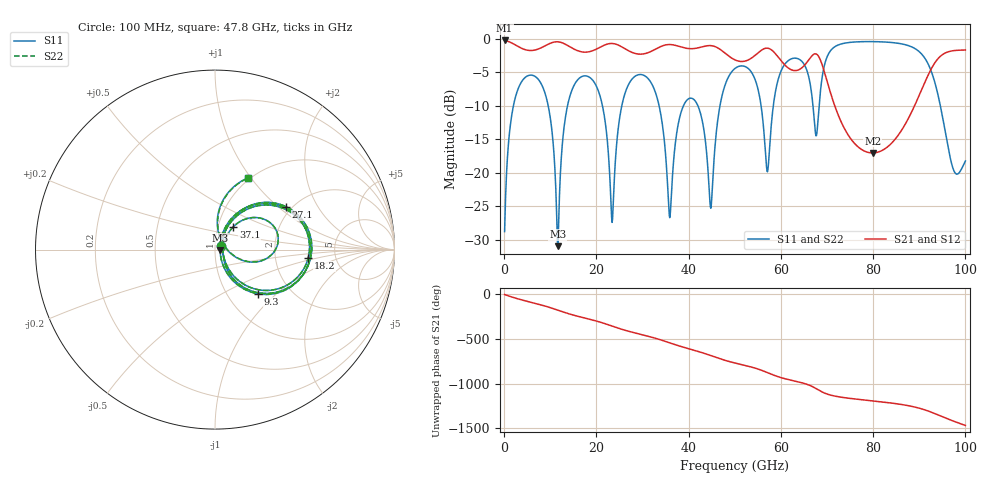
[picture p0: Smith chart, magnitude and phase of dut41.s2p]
! Touchstone file exported from HFSS 2026.1.0
!  File:  C:/ffzhzh/LocalFiles/Ansys_Project_Files/temp_train_TSV_RDL_41_1783443012_34316.aedt
!  Generated:  01:25:04 AM Jul  8, 2026
!  Design:  TSV_RDL
!  Project:  temp_train_TSV_RDL_41_1783443012_34316
! Variables:
!  h_bsmrdl = 2.66um
!  h_ox = 20um
!  h_rdl = 5um
!  h_sub = 64.71um
!  h_tmrdl = 3.56um
!  h_tsv = 64.71um
!  h_via = 3um
!  l_bsmrdl = 689.14um
!  l_sub = 5142.44um
!  l_tmrdl = 642.94um
!  m_sub = 200um
!  pitch = 42.76um
!  r_tsv = 12.38um
!  s_tmrdl = 10um
!  w_bsmrdl = 16.43um
!  w_sub = 500um
!  w_tmrdl = 17.99um
!  x_tsv_center1 = 651.935um
!  x_tsv_center2 = 1357.505um
!  x_tsv_center3 = 2018.435um
!  x_tsv_center4 = 2724.005um
!  x_tsv_center5 = 3384.935um
!  x_tsv_center6 = 4090.505um
# GHz S MA R 50.000000
! Terminal data exported
! Port[1] = TM_RDL1_1_T1
! Port[2] = TM_RDL5_1_T1
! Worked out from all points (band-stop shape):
!   1000 points, 100 MHz to 100 GHz, reference 50 ohm
!   highest |S21| = -0.27 dB at 100 MHz (marker M1); lowest = -17.1 dB at 79.9 GHz (marker M2)
!   |S21| within 3 dB of the highest: start of sweep to 50.39 GHz; 52.62 GHz to 60.01 GHz (7.394 GHz wide, 13.1 % of centre) (the widest 2 of 4)
!   lowest |S11| = -31.0 dB at 11.6 GHz (marker M3), VSWR 1.06, Z = 52.9 - j0.337 ohm
!   |S11| at or under -10 dB: 33.58 GHz to 38.89 GHz (5.305 GHz wide, 14.6 % of centre); 41.99 GHz to 46.8 GHz (4.81 GHz wide, 10.8 % of centre); 94.56 GHz to end of sweep (the widest 3 of 8)
!   |S22| runs from -31.0 to -0.4 dB; largest |S21 - S12| = 5.4e-13
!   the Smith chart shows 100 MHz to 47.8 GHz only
!   S11 on the Smith chart (normalised r, x): 100 MHz: 1.06, +0.04; 9.3 GHz: 1.38, -0.77; 18.2 GHz: 3.12, -0.40; 27.1 GHz: 1.87, +1.13; 37.1 GHz: 1.18, +0.31; 47.8 GHz: 0.98, +0.97
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0.1  0.03624 29.4  0.9688 -1.9  0.9688 -1.9  0.03624 29.4
! Gamma 0 0 0 0
! Port Impedance 50 0 50 0
3  0.4194 35.3  0.874 -50.3  0.874 -50.3  0.4194 35.3
9.3  0.3448 -45.6  0.8992 -137.0  0.8992 -137.0  0.3448 -45.6
11.6  0.0282 -6.5  0.9466 -176.6  0.9466 -176.6  0.02833 -6.4
16.8  0.5199 11.6  0.7964 103.6  0.7964 103.6  0.5199 11.6
18.2  0.5214 -5.2  0.7952 85.6  0.7952 85.6  0.5214 -5.1
23.4  0.04245 1.1  0.92 5.1  0.92 5.1  0.04264 1.2
27.1  0.4631 31.0  0.8073 -55.0  0.8073 -55.0  0.4632 31.0
33.4  0.3368 -45.3  0.8544 -140.9  0.8544 -140.9  0.3368 -45.3
37.1  0.1638 51.2  0.8909 156.2  0.8909 156.2  0.1638 51.2
42.6  0.2741 -12.5  0.8626 72.1  0.8626 72.1  0.2744 -12.2
44.8  0.05411 32.6  0.8866 34.4  0.8866 34.4  0.05608 32.6
47.8  0.4399 65.3  0.7836 -17.6  0.7836 -17.6  0.4401 65.0
50.1  0.6007 37.6  0.6923 -49.8  0.6923 -49.8  0.6008 37.4
57.8  0.2025 67.5  0.831 -171.9  0.831 -171.9  0.2025 67.4
66.7  0.3791 -18.0  0.7415 50.0  0.7415 50.0  0.3789 -18.2
70  0.729 40.4  0.4824 -36.4  0.4824 -36.4  0.7288 40.4
79.9  0.9499 -23.3  0.1401 -113.2  0.1401 -113.2  0.9498 -23.4
83.4  0.9392 -41.6  0.1584 -133.7  0.1584 -133.7  0.9392 -41.6
89.6  0.8194 -92.0  0.3518 170.3  0.3518 170.3  0.8195 -92.0
94.7  0.2994 -178.5  0.7447 75.8  0.7447 75.8  0.3002 -178.0
100  0.1219 54.5  0.8224 -28.6  0.8224 -28.6  0.1214 55.4
